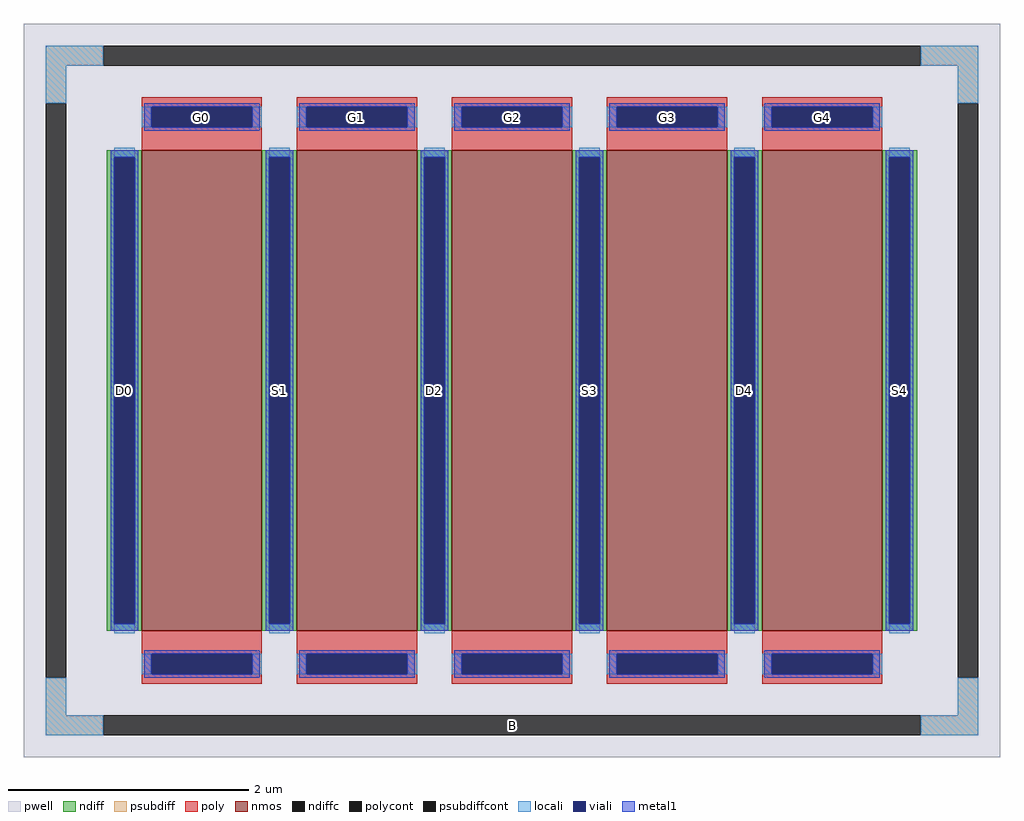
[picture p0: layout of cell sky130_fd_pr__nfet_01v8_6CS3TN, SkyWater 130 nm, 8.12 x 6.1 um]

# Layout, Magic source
magic
tech sky130A
magscale 1 2
<< pwell >>
rect -812 -610 812 610
<< nmos >>
rect -616 -400 -416 400
rect -358 -400 -158 400
rect -100 -400 100 400
rect 158 -400 358 400
rect 416 -400 616 400
<< ndiff >>
rect -674 388 -616 400
rect -674 -388 -662 388
rect -628 -388 -616 388
rect -674 -400 -616 -388
rect -416 388 -358 400
rect -416 -388 -404 388
rect -370 -388 -358 388
rect -416 -400 -358 -388
rect -158 388 -100 400
rect -158 -388 -146 388
rect -112 -388 -100 388
rect -158 -400 -100 -388
rect 100 388 158 400
rect 100 -388 112 388
rect 146 -388 158 388
rect 100 -400 158 -388
rect 358 388 416 400
rect 358 -388 370 388
rect 404 -388 416 388
rect 358 -400 416 -388
rect 616 388 674 400
rect 616 -388 628 388
rect 662 -388 674 388
rect 616 -400 674 -388
<< ndiffc >>
rect -662 -388 -628 388
rect -404 -388 -370 388
rect -146 -388 -112 388
rect 112 -388 146 388
rect 370 -388 404 388
rect 628 -388 662 388
<< psubdiff >>
rect -776 540 -680 574
rect 680 540 776 574
rect -776 478 -742 540
rect 742 478 776 540
rect -776 -540 -742 -478
rect 742 -540 776 -478
rect -776 -574 -680 -540
rect 680 -574 776 -540
<< psubdiffcont >>
rect -680 540 680 574
rect -776 -478 -742 478
rect 742 -478 776 478
rect -680 -574 680 -540
<< poly >>
rect -616 472 -416 488
rect -616 438 -600 472
rect -432 438 -416 472
rect -616 400 -416 438
rect -358 472 -158 488
rect -358 438 -342 472
rect -174 438 -158 472
rect -358 400 -158 438
rect -100 472 100 488
rect -100 438 -84 472
rect 84 438 100 472
rect -100 400 100 438
rect 158 472 358 488
rect 158 438 174 472
rect 342 438 358 472
rect 158 400 358 438
rect 416 472 616 488
rect 416 438 432 472
rect 600 438 616 472
rect 416 400 616 438
rect -616 -438 -416 -400
rect -616 -472 -600 -438
rect -432 -472 -416 -438
rect -616 -488 -416 -472
rect -358 -438 -158 -400
rect -358 -472 -342 -438
rect -174 -472 -158 -438
rect -358 -488 -158 -472
rect -100 -438 100 -400
rect -100 -472 -84 -438
rect 84 -472 100 -438
rect -100 -488 100 -472
rect 158 -438 358 -400
rect 158 -472 174 -438
rect 342 -472 358 -438
rect 158 -488 358 -472
rect 416 -438 616 -400
rect 416 -472 432 -438
rect 600 -472 616 -438
rect 416 -488 616 -472
<< polycont >>
rect -600 438 -432 472
rect -342 438 -174 472
rect -84 438 84 472
rect 174 438 342 472
rect 432 438 600 472
rect -600 -472 -432 -438
rect -342 -472 -174 -438
rect -84 -472 84 -438
rect 174 -472 342 -438
rect 432 -472 600 -438
<< locali >>
rect -776 540 -680 574
rect 680 540 776 574
rect -776 478 -742 540
rect 742 478 776 540
rect -616 438 -600 472
rect -432 438 -416 472
rect -358 438 -342 472
rect -174 438 -158 472
rect -100 438 -84 472
rect 84 438 100 472
rect 158 438 174 472
rect 342 438 358 472
rect 416 438 432 472
rect 600 438 616 472
rect -662 388 -628 404
rect -662 -404 -628 -388
rect -404 388 -370 404
rect -404 -404 -370 -388
rect -146 388 -112 404
rect -146 -404 -112 -388
rect 112 388 146 404
rect 112 -404 146 -388
rect 370 388 404 404
rect 370 -404 404 -388
rect 628 388 662 404
rect 628 -404 662 -388
rect -616 -472 -600 -438
rect -432 -472 -416 -438
rect -358 -472 -342 -438
rect -174 -472 -158 -438
rect -100 -472 -84 -438
rect 84 -472 100 -438
rect 158 -472 174 -438
rect 342 -472 358 -438
rect 416 -472 432 -438
rect 600 -472 616 -438
rect -776 -540 -742 -478
rect 742 -540 776 -478
rect -776 -574 -680 -540
rect 680 -574 776 -540
<< viali >>
rect -600 438 -432 472
rect -342 438 -174 472
rect -84 438 84 472
rect 174 438 342 472
rect 432 438 600 472
rect -662 -388 -628 388
rect -404 -388 -370 388
rect -146 -388 -112 388
rect 112 -388 146 388
rect 370 -388 404 388
rect 628 -388 662 388
rect -600 -472 -432 -438
rect -342 -472 -174 -438
rect -84 -472 84 -438
rect 174 -472 342 -438
rect 432 -472 600 -438
<< metal1 >>
rect -612 472 -420 478
rect -612 438 -600 472
rect -432 438 -420 472
rect -612 432 -420 438
rect -354 472 -162 478
rect -354 438 -342 472
rect -174 438 -162 472
rect -354 432 -162 438
rect -96 472 96 478
rect -96 438 -84 472
rect 84 438 96 472
rect -96 432 96 438
rect 162 472 354 478
rect 162 438 174 472
rect 342 438 354 472
rect 162 432 354 438
rect 420 472 612 478
rect 420 438 432 472
rect 600 438 612 472
rect 420 432 612 438
rect -668 388 -622 400
rect -668 -388 -662 388
rect -628 -388 -622 388
rect -668 -400 -622 -388
rect -410 388 -364 400
rect -410 -388 -404 388
rect -370 -388 -364 388
rect -410 -400 -364 -388
rect -152 388 -106 400
rect -152 -388 -146 388
rect -112 -388 -106 388
rect -152 -400 -106 -388
rect 106 388 152 400
rect 106 -388 112 388
rect 146 -388 152 388
rect 106 -400 152 -388
rect 364 388 410 400
rect 364 -388 370 388
rect 404 -388 410 388
rect 364 -400 410 -388
rect 622 388 668 400
rect 622 -388 628 388
rect 662 -388 668 388
rect 622 -400 668 -388
rect -612 -438 -420 -432
rect -612 -472 -600 -438
rect -432 -472 -420 -438
rect -612 -478 -420 -472
rect -354 -438 -162 -432
rect -354 -472 -342 -438
rect -174 -472 -162 -438
rect -354 -478 -162 -472
rect -96 -438 96 -432
rect -96 -472 -84 -438
rect 84 -472 96 -438
rect -96 -478 96 -472
rect 162 -438 354 -432
rect 162 -472 174 -438
rect 342 -472 354 -438
rect 162 -478 354 -472
rect 420 -438 612 -432
rect 420 -472 432 -438
rect 600 -472 612 -438
rect 420 -478 612 -472
<< labels >>
rlabel psubdiffcont 0 -557 0 -557 0 B
port 1 nsew
rlabel ndiffc -645 0 -645 0 0 D0
port 2 nsew
rlabel polycont -516 455 -516 455 0 G0
port 3 nsew
rlabel ndiffc -387 0 -387 0 0 S1
port 4 nsew
rlabel polycont -258 455 -258 455 0 G1
port 5 nsew
rlabel ndiffc -129 0 -129 0 0 D2
port 6 nsew
rlabel polycont 0 455 0 455 0 G2
port 7 nsew
rlabel ndiffc 129 0 129 0 0 S3
port 8 nsew
rlabel polycont 258 455 258 455 0 G3
port 9 nsew
rlabel ndiffc 387 0 387 0 0 D4
port 10 nsew
rlabel ndiffc 645 0 645 0 0 S4
port 11 nsew
rlabel polycont 516 455 516 455 0 G4
port 12 nsew
<< properties >>
string FIXED_BBOX -759 -557 759 557
string gencell sky130_fd_pr__nfet_01v8
string library sky130
string parameters w 4 l 1.0 m 1 nf 5 diffcov 100 polycov 100 guard 1 glc 1 grc 1 gtc 1 gbc 1 tbcov 100 rlcov 100 topc 1 botc 1 poverlap 0 doverlap 1 lmin 0.15 wmin 0.42 class mosfet compatible {sky130_fd_pr__nfet_01v8 sky130_fd_pr__nfet_01v8_lvt  sky130_fd_bs_flash__special_sonosfet_star  sky130_fd_pr__nfet_g5v0d10v5 sky130_fd_pr__nfet_05v0_nvt  sky130_fd_pr__nfet_03v3_nvt} full_metal 1 conn_gates 0 viasrc 100 viadrn 100 viagate 100 viagb 0 viagr 0 viagl 0 viagt 0 doports 1
<< end >>
